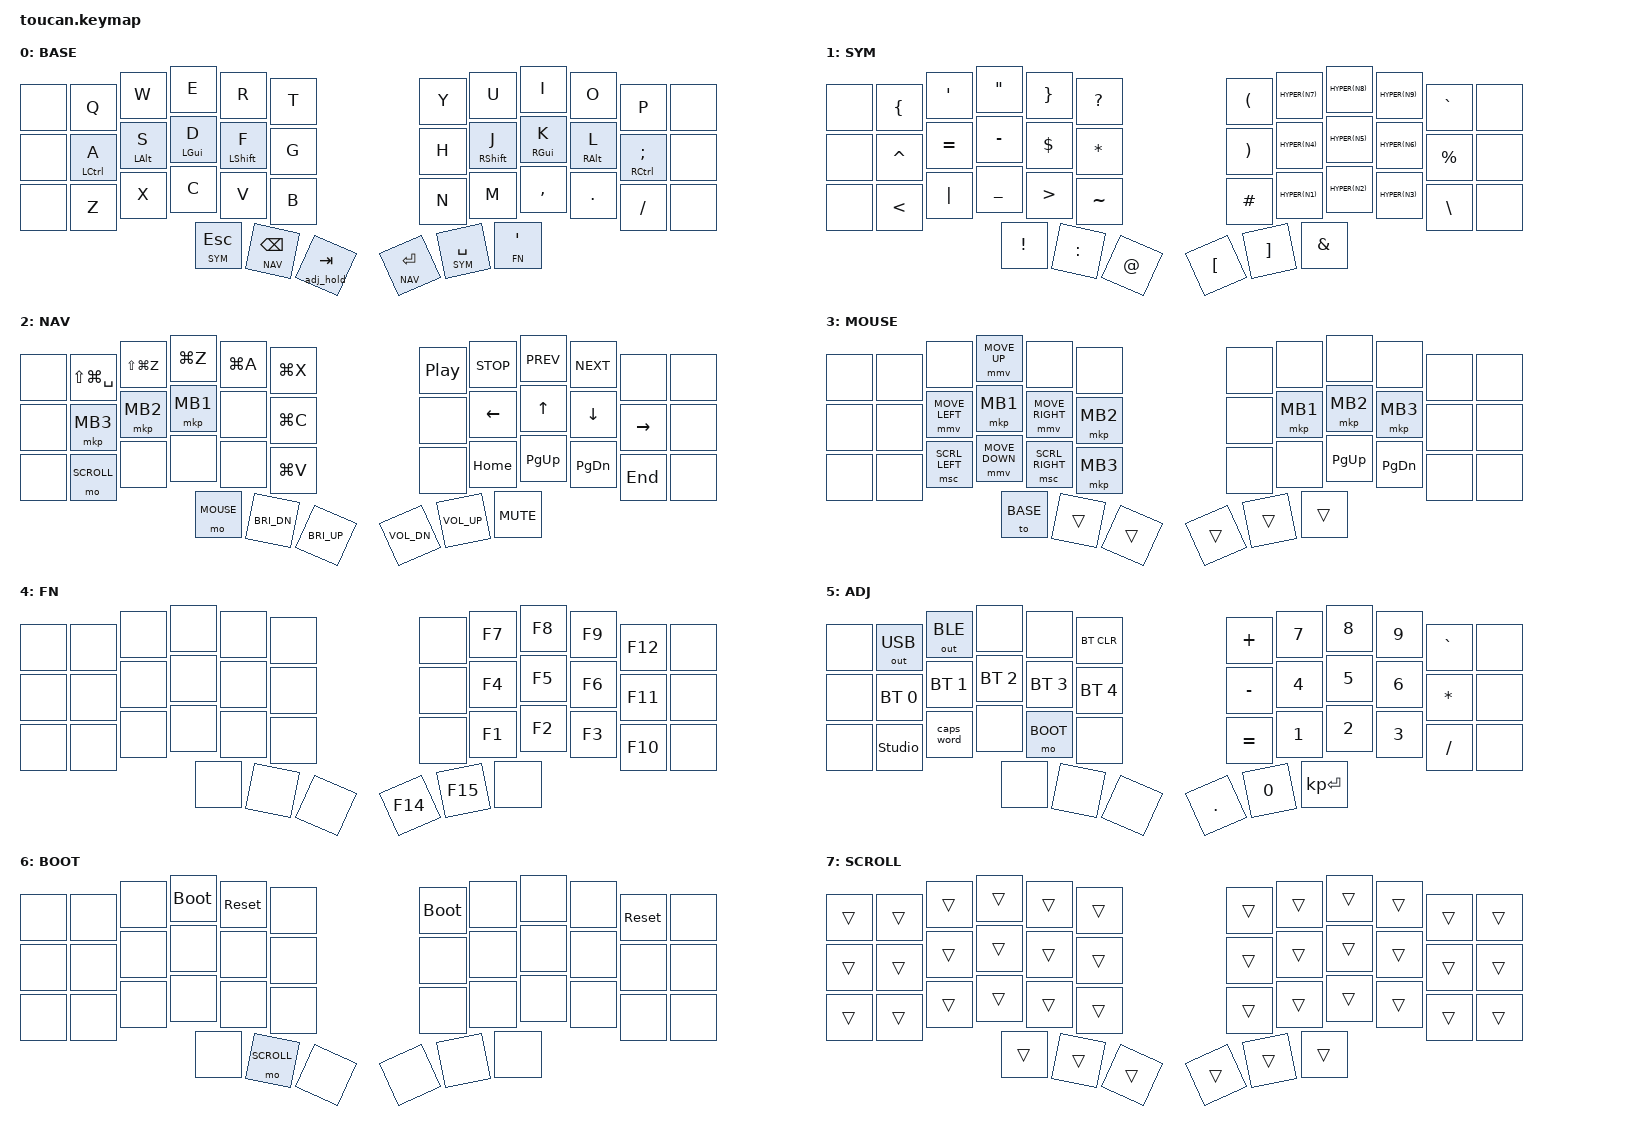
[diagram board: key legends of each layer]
#include <behaviors.dtsi>

#include <dt-bindings/zmk/keys.h>
#include <dt-bindings/zmk/bt.h>
#include <dt-bindings/zmk/outputs.h>
#include <dt-bindings/zmk/pointing.h>

#define BASE  0
#define SYM   1
#define NAV   2
#define MOUSE 3
#define FN    4
#define ADJ   5
#define BOOT  6
#define SCROLL 7

#define HRM_TAPPING_TERM 145
#define HRM_SHIFT_TAPPING_TERM 115
#define HRM_QUICK_TAP 0
#define HRM_REQUIRE_PRIOR_IDLE 135
#define LAYER_TAPPING_TERM 145
#define LAYER_TAB_TAPPING_TERM 220
#define LAYER_SPACE_TAPPING_TERM 160
#define LAYER_QUICK_TAP 0
#define LAYER_BACKSPACE_QUICK_TAP 120
#define COMBO_REQUIRE_PRIOR_IDLE 150

#define LEFT_HAND_KEYS  1  2  3  4  5 13 14 15 16 17 25 26 27 28 29
#define RIGHT_HAND_KEYS 6  7  8  9 10 18 19 20 21 22 30 31 32 33 34
#define LEFT_THUMB_KEYS 36 37 38
#define RIGHT_THUMB_KEYS 39 40 41
/* Same-hand exceptions: positions a home-row mod is still allowed to hold for. */
#define LEFT_Z_KEY 25
#define LEFT_TAB_THUMB_KEY 38
#define RIGHT_N_KEY 30
#define RIGHT_DOT_KEY 33
#define RIGHT_SAME_HAND_KEYS RIGHT_N_KEY RIGHT_DOT_KEY
#define HYPER(k) LC(LA(LS(LG(k))))

&lt {
    flavor = "tap-preferred";
    tapping-term-ms = <LAYER_TAPPING_TERM>;
    quick-tap-ms = <LAYER_QUICK_TAP>;
};

&mmv {
    time-to-max-speed-ms = <220>;
};

/ {
    macros {
        hm: hyper_mods {
            compatible = "zmk,behavior-macro";
            #binding-cells = <0>;
            wait-ms = <0>;
            tap-ms = <0>;
            bindings
                = <&macro_press &kp LCTRL &kp LSHFT &kp LALT &kp LGUI>
                , <&macro_pause_for_release>
                , <&macro_release &kp LCTRL &kp LSHFT &kp LALT &kp LGUI>
                ;
        };

        adj_hold: adjust_hold {
            compatible = "zmk,behavior-macro";
            #binding-cells = <0>;
            wait-ms = <0>;
            tap-ms = <0>;
            bindings
                = <&macro_press &mo SYM &mo NAV>
                , <&macro_pause_for_release>
                , <&macro_release &mo NAV &mo SYM>
                ;
        };
    };

    combos {
        compatible = "zmk,combos";

        hyper_thumb {
            timeout-ms = <50>;
            require-prior-idle-ms = <COMBO_REQUIRE_PRIOR_IDLE>;
            key-positions = <40 41>;
            layers = <BASE>;
            slow-release;
            bindings = <&hm>;
        };

    };

    behaviors {
        hml: home_row_mod_left {
            compatible = "zmk,behavior-hold-tap";
            #binding-cells = <2>;
            flavor = "balanced";
            tapping-term-ms = <HRM_TAPPING_TERM>;
            quick-tap-ms = <HRM_QUICK_TAP>;
            require-prior-idle-ms = <HRM_REQUIRE_PRIOR_IDLE>;
            bindings = <&kp>, <&kp>;
            hold-trigger-key-positions = <RIGHT_HAND_KEYS RIGHT_THUMB_KEYS LEFT_Z_KEY LEFT_TAB_THUMB_KEY>;
            hold-trigger-on-release;
            display-name = "Home Row Mod Left";
        };

        hmr: home_row_mod_right {
            compatible = "zmk,behavior-hold-tap";
            #binding-cells = <2>;
            flavor = "balanced";
            tapping-term-ms = <HRM_TAPPING_TERM>;
            quick-tap-ms = <HRM_QUICK_TAP>;
            require-prior-idle-ms = <HRM_REQUIRE_PRIOR_IDLE>;
            bindings = <&kp>, <&kp>;
            hold-trigger-key-positions = <LEFT_HAND_KEYS LEFT_THUMB_KEYS RIGHT_SAME_HAND_KEYS>;
            hold-trigger-on-release;
            display-name = "Home Row Mod Right";
        };

        hms: home_row_mod_shift {
            compatible = "zmk,behavior-hold-tap";
            #binding-cells = <2>;
            flavor = "balanced";
            tapping-term-ms = <HRM_SHIFT_TAPPING_TERM>;
            quick-tap-ms = <HRM_QUICK_TAP>;
            bindings = <&kp>, <&kp>;
            display-name = "Home Row Mod Shift";
        };

        lte: layer_tap_escape {
            compatible = "zmk,behavior-hold-tap";
            #binding-cells = <2>;
            flavor = "hold-preferred";
            tapping-term-ms = <LAYER_TAPPING_TERM>;
            quick-tap-ms = <LAYER_QUICK_TAP>;
            bindings = <&mo>, <&kp>;
            display-name = "Layer-Tap Escape";
        };

        ltb: layer_tap_backspace {
            compatible = "zmk,behavior-hold-tap";
            #binding-cells = <2>;
            flavor = "hold-preferred";
            tapping-term-ms = <LAYER_TAPPING_TERM>;
            quick-tap-ms = <LAYER_BACKSPACE_QUICK_TAP>;
            hold-while-undecided;
            bindings = <&mo>, <&kp>;
            display-name = "Layer-Tap Backspace";
        };

        adjt: adjust_tap_tab {
            compatible = "zmk,behavior-hold-tap";
            #binding-cells = <2>;
            flavor = "hold-preferred";
            tapping-term-ms = <LAYER_TAB_TAPPING_TERM>;
            quick-tap-ms = <LAYER_QUICK_TAP>;
            hold-while-undecided;
            bindings = <&adj_hold>, <&kp>;
            display-name = "Adjust-Tap Tab";
        };

        lts: layer_tap_space {
            compatible = "zmk,behavior-hold-tap";
            #binding-cells = <2>;
            flavor = "tap-preferred";
            tapping-term-ms = <LAYER_SPACE_TAPPING_TERM>;
            quick-tap-ms = <LAYER_QUICK_TAP>;
            bindings = <&mo>, <&kp>;
            display-name = "Layer-Tap Space";
        };
    };

    conditional_layers {
        compatible = "zmk,conditional-layers";
        tri_layer {
            if-layers = <SYM NAV>;
            then-layer = <ADJ>;
        };
    };

    keymap {
        compatible = "zmk,keymap";

        base {
            display-name = "BASE";
            bindings = <
                &none &kp Q           &kp W        &kp E        &kp R         &kp T     &kp Y     &kp U         &kp I          &kp O        &kp P           &none
                &none &hml LCTRL A    &hml LALT S  &hml LGUI D  &hms LSHFT F  &kp G     &kp H     &hms RSHFT J  &hmr RGUI K    &hmr RALT L  &hmr RCTRL SEMI &none
                &none &kp Z           &kp X        &kp C        &kp V         &kp B     &kp N     &kp M         &kp COMMA      &kp DOT      &kp FSLH        &none
                                      &lte SYM ESC  &ltb NAV BSPC &adjt 0 TAB   &lt NAV RET &lts SYM SPACE &lt FN SQT
            >;
        };

        sym {
            display-name = "SYM";
            bindings = <
                &none &kp LBRC  &kp SQT   &kp DQT   &kp RBRC  &kp QMARK   &kp LPAR  &kp HYPER(N7)  &kp HYPER(N8)  &kp HYPER(N9)  &kp GRAVE &none
                &none &kp CARET &kp EQUAL &kp MINUS &kp DLLR  &kp STAR    &kp RPAR  &kp HYPER(N4)  &kp HYPER(N5)  &kp HYPER(N6)  &kp PRCNT &none
                &none &kp LT    &kp PIPE  &kp UNDER &kp GT    &kp TILDE   &kp HASH  &kp HYPER(N1)  &kp HYPER(N2)  &kp HYPER(N3)  &kp BSLH  &none
                                      &kp EXCL  &kp COLON &kp AT      &kp LBKT &kp RBKT &kp AMPS
            >;
        };

        nav {
            display-name = "NAV";
            bindings = <
                &none &kp LS(LG(SPACE)) &kp LS(LG(Z)) &kp LG(Z)    &kp LG(A)  &kp LG(X)    &kp C_PP   &kp C_STOP &kp C_PREV &kp C_NEXT &none     &none
                &none &mkp MB3         &mkp MB2      &mkp MB1     &none       &kp LG(C)    &none      &kp LEFT   &kp UP     &kp DOWN   &kp RIGHT &none
                &none &mo SCROLL       &none         &none        &none       &kp LG(V)    &none      &kp HOME   &kp PG_UP  &kp PG_DN  &kp END   &none
                                           &mo MOUSE &kp C_BRI_DN &kp C_BRI_UP    &kp C_VOL_DN &kp C_VOL_UP &kp C_MUTE
            >;
        };

        mouse {
            display-name = "MOUSE";
            bindings = <
                &none &none      &none          &mmv MOVE_UP   &none            &none             &none      &none     &none     &none       &none     &none
                &none &none      &mmv MOVE_LEFT &mkp MB1       &mmv MOVE_RIGHT  &mkp MB2          &none      &mkp MB1  &mkp MB2  &mkp MB3    &none     &none
                &none &none      &msc SCRL_LEFT &mmv MOVE_DOWN &msc SCRL_RIGHT  &mkp MB3          &none      &none     &kp PG_UP &kp PG_DN   &none     &none
                                                &to BASE       &trans           &trans            &trans     &trans    &trans
            >;
        };

        fn {
            display-name = "FN";
            bindings = <
                &none &none     &none     &none     &none   &none      &none  &kp F7  &kp F8  &kp F9  &kp F12 &none
                &none &none     &none     &none     &none   &none      &none  &kp F4  &kp F5  &kp F6  &kp F11 &none
                &none &none     &none     &none     &none   &none      &none  &kp F1  &kp F2  &kp F3  &kp F10 &none
                                      &none   &none   &none      &kp F14 &kp F15 &none
            >;
        };

        adj {
            display-name = "ADJ";
            bindings = <
                &none &out OUT_USB    &out OUT_BLE &none        &none        &bt BT_CLR     &kp PLUS  &kp N7  &kp N8  &kp N9  &kp GRAVE &none
                &none &bt BT_SEL 0    &bt BT_SEL 1 &bt BT_SEL 2 &bt BT_SEL 3 &bt BT_SEL 4   &kp MINUS  &kp N4  &kp N5  &kp N6  &kp STAR  &none
                &none &studio_unlock  &caps_word   &none        &mo BOOT     &none          &kp EQUAL  &kp N1  &kp N2  &kp N3  &kp FSLH  &none
                                             &none       &none        &none        &kp DOT &kp N0 &kp KP_ENTER
            >;
        };

        boot {
            display-name = "BOOT";
            bindings = <
                &none &none   &none        &bootloader &sys_reset &none    &bootloader &none &none &none &sys_reset &none
                &none &none   &none        &none       &none       &none    &none       &none &none &none &none      &none
                &none &none   &none        &none       &none       &none    &none       &none &none &none &none      &none
                                    &none       &mo SCROLL  &none    &none &none &none
            >;
        };

        scroll {
            display-name = "SCROLL";
            bindings = <
                &trans &trans &trans &trans &trans &trans    &trans &trans &trans &trans &trans &trans
                &trans &trans &trans &trans &trans &trans    &trans &trans &trans &trans &trans &trans
                &trans &trans &trans &trans &trans &trans    &trans &trans &trans &trans &trans &trans
                                      &trans &trans &trans    &trans &trans &trans
            >;
        };

        extra_3 {
            status = "reserved";
        };
    };
};
